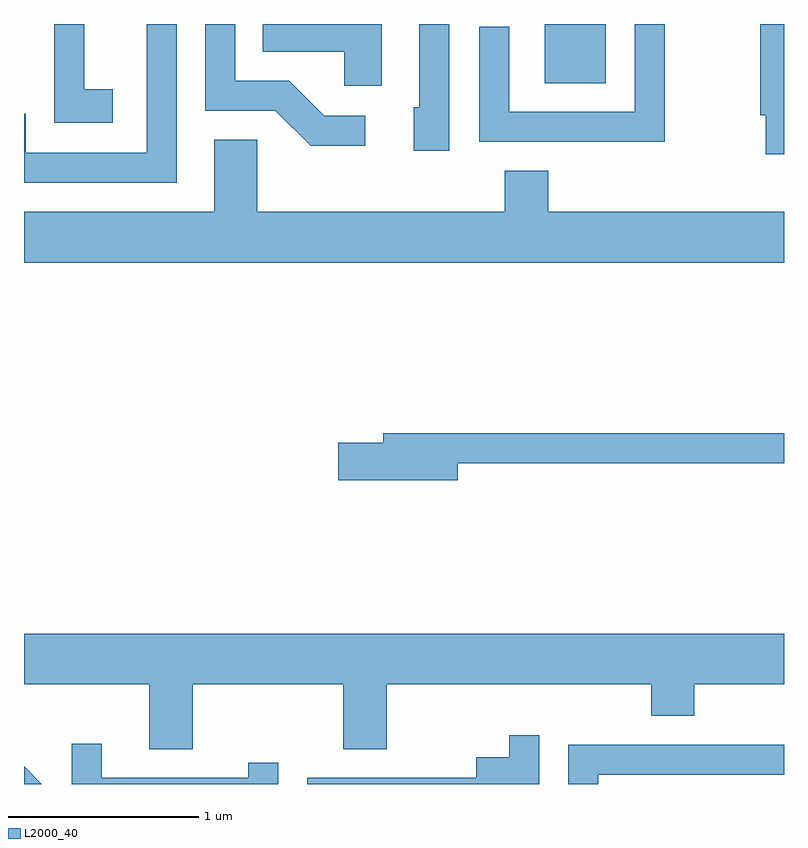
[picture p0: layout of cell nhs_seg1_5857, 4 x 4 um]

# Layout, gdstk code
import gdstk
lib = gdstk.Library(unit=1e-6, precision=1e-09)
def R(c, l, rs):  # rectangles x0, y0, x1, y1
    for r in rs: c.add(gdstk.rectangle(r[:2], r[2:], *l))
def P(c, l, *ps):  # polygons
    for p in ps: c.add(gdstk.Polygon(p, *l))
L2000_40 = (2000, 40)

nhs_seg1_5857 = lib.new_cell('nhs_seg1_5857')
R(nhs_seg1_5857, L2000_40, [(364.351,909.401,364.674,909.712)])
P(nhs_seg1_5857, L2000_40, [(363.849,909.712),(363.691,909.712),(363.691,909.274),(363.661,909.274),(363.661,909.046),(363.849,909.046)],
  [(362.414,909.712),(362.256,909.712),(362.256,909.034),(361.619,909.034),(361.619,909.239),(361.611,909.239),(361.611,908.876),(362.414,908.876)],
  [(363.408,909.229),(363.192,909.229),(363.007,909.414),(362.724,909.414),(362.724,909.712),(362.566,909.712),(362.566,909.256),(362.934,909.256),(363.119,909.071),(363.408,909.071)],
  [(362.079,909.369),(361.929,909.369),(361.929,909.712),(361.771,909.712),(361.771,909.191),(362.079,909.191)],
  [(363.494,909.712),(362.868,909.712),(362.868,909.566),(363.296,909.566),(363.296,909.386),(363.494,909.386)],
  [(365.611,909.712),(365.486,909.712),(365.486,909.231),(365.516,909.231),(365.516,909.026),(365.611,909.026)],
  [(364.984,909.712),(364.826,909.712),(364.826,909.249),(364.164,909.249),(364.164,909.698),(364.006,909.698),(364.006,909.091),(364.984,909.091)],
  [(365.611,908.724),(364.369,908.724),(364.369,908.939),(364.141,908.939),(364.141,908.724),(362.839,908.724),(362.839,909.104),(362.611,909.104),(362.611,908.724),(361.611,908.724),(361.611,908.456),(365.611,908.456)],
  [(363.894,907.401),(365.611,907.401),(365.611,907.559),(363.501,907.559),(363.501,907.509),(363.266,907.509),(363.266,907.311),(363.894,907.311)],
  [(362.499,906.236),(363.291,906.236),(363.291,905.896),(363.519,905.896),(363.519,906.236),(364.911,906.236),(364.911,906.071),(365.139,906.071),(365.139,906.236),(365.611,906.236),(365.611,906.504),(361.611,906.504),(361.611,906.236),(362.271,906.236),(362.271,905.896),(362.499,905.896)],
  [(364.324,905.968),(364.166,905.968),(364.166,905.854),(363.991,905.854),(363.991,905.744),(363.101,905.744),(363.101,905.712),(364.324,905.712)],
  [(362.949,905.823),(362.791,905.823),(362.791,905.744),(362.019,905.744),(362.019,905.923),(361.861,905.923),(361.861,905.712),(362.949,905.712)],
  [(364.634,905.761),(365.611,905.761),(365.611,905.919),(364.476,905.919),(364.476,905.712),(364.634,905.712)],
  [(361.611,905.805),(361.611,905.712),(361.704,905.712)])

lib.write_gds('nhs_seg1_5857.gds')
